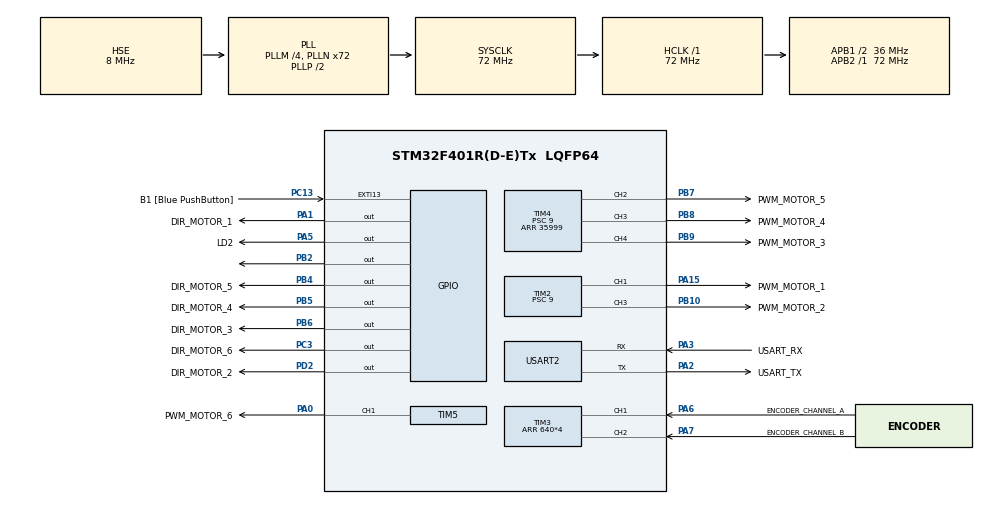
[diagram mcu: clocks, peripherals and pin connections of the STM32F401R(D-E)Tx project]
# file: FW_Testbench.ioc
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FREERTOS.BinarySemaphores01=binarySemaphore,Dynamic,NULL
<<<<<<< HEAD
FREERTOS.Tasks01=defaultTask,0,128,StartDefaultTask,Default,NULL,Dynamic,NULL,NULL;Bsp_Task,0,128,StartBsp_Task,Default,NULL,Dynamic,NULL,NULL;Uart_task,0,128,StartUart_task,Default,NULL,Dynamic,NULL,NULL
=======
FREERTOS.Tasks01=Sensors_Task,0,128,StartSensorsTask,Default,NULL,Dynamic,NULL,NULL;MotorControl_Ta,0,128,StartMotorControlTask,Default,NULL,Dynamic,NULL,NULL;UART_task,0,128,StartUART_task,Default,NULL,Dynamic,NULL,NULL
>>>>>>> 9b9e9519ef4823c5775a255998e3b3a3749f4d0f
Mcu.Family=STM32F4
<<<<<<< HEAD
=======
>>>>>>> 9b9e9519ef4823c5775a255998e3b3a3749f4d0f
Mcu.Name=STM32F401R(D-E)Tx
Mcu.Package=LQFP64
<<<<<<< HEAD
=======
>>>>>>> 9b9e9519ef4823c5775a255998e3b3a3749f4d0f
NVIC.PriorityGroup=NVIC_PRIORITYGROUP_4
<<<<<<< HEAD
PA0-WKUP.GPIO_Label=PWM_Motor_1
PA0-WKUP.Signal=S_TIM2_CH1_ETR
PA1.GPIO_Label=DIR_Motor_1
=======
NVIC.TIM1_UP_TIM10_IRQn=true\:15\:0\:false\:false\:true\:false\:false\:true\:true
NVIC.TIM3_IRQn=true\:5\:0\:false\:false\:true\:true\:true\:true\:true
NVIC.TimeBase=TIM1_UP_TIM10_IRQn
NVIC.TimeBaseIP=TIM1
PA0-WKUP.GPIO_Label=PWM_MOTOR_6
PA0-WKUP.Signal=S_TIM5_CH1
PA1.GPIO_Label=DIR_MOTOR_1
>>>>>>> 9b9e9519ef4823c5775a255998e3b3a3749f4d0f
PA1.Signal=GPIO_Output
PA13.GPIO_Label=TMS
PA13.Mode=Serial_Wire
PA13.Signal=SYS_JTMS-SWDIO
PA14.GPIO_Label=TCK
PA14.Mode=Serial_Wire
PA14.Signal=SYS_JTCK-SWCLK
<<<<<<< HEAD
=======
PA15.GPIO_Label=PWM_MOTOR_1
PA15.Signal=S_TIM2_CH1_ETR
>>>>>>> 9b9e9519ef4823c5775a255998e3b3a3749f4d0f
PA2.GPIO_Label=USART_TX
PA2.GPIO_Mode=GPIO_MODE_AF_PP
PA2.GPIO_PuPd=GPIO_NOPULL
PA2.GPIO_Speed=GPIO_SPEED_FREQ_LOW
PA2.Mode=Asynchronous
PA2.Signal=USART2_TX
PA3.GPIO_Label=USART_RX
PA3.GPIO_Mode=GPIO_MODE_AF_PP
PA3.GPIO_PuPd=GPIO_NOPULL
PA3.GPIO_Speed=GPIO_SPEED_FREQ_LOW
PA3.Mode=Asynchronous
PA3.Signal=USART2_RX
<<<<<<< HEAD
PA5.GPIO_Label=LD2 
PA5.GPIO_Mode=GPIO_MODE_OUTPUT_PP
=======
PA5.GPIO_Label=LD2 
>>>>>>> 9b9e9519ef4823c5775a255998e3b3a3749f4d0f
PA5.GPIO_PuPd=GPIO_NOPULL
PA5.GPIO_Speed=GPIO_SPEED_FREQ_LOW
PA5.Signal=GPIO_Output
<<<<<<< HEAD
PA6.Signal=S_TIM3_CH1
PA7.Signal=S_TIM3_CH2
=======
PA6.GPIO_Label=ENCODER_CHANNEL_A
PA6.Signal=S_TIM3_CH1
PA7.GPIO_Label=ENCODER_CHANNEL_B
PA7.Signal=S_TIM3_CH2
PB10.GPIO_Label=PWM_MOTOR_2
PB10.Signal=S_TIM2_CH3
PB2.Signal=GPIO_Output
>>>>>>> 9b9e9519ef4823c5775a255998e3b3a3749f4d0f
PB3.GPIO_Label=SWO
PB3.Signal=SYS_JTDO-SWO
<<<<<<< HEAD
=======
PB4.GPIO_Label=DIR_MOTOR_5
PB4.Signal=GPIO_Output
PB5.GPIO_Label=DIR_MOTOR_4
PB5.Signal=GPIO_Output
PB6.GPIO_Label=DIR_MOTOR_3
PB6.Signal=GPIO_Output
PB7.GPIO_Label=PWM_MOTOR_5
PB7.Signal=S_TIM4_CH2
PB8.GPIO_Label=PWM_MOTOR_4
PB8.Signal=S_TIM4_CH3
PB9.GPIO_Label=PWM_MOTOR_3
PB9.Signal=S_TIM4_CH4
>>>>>>> 9b9e9519ef4823c5775a255998e3b3a3749f4d0f
PC13-ANTI_TAMP.GPIO_Label=B1 [Blue PushButton]
PC13-ANTI_TAMP.GPIO_ModeDefaultEXTI=GPIO_MODE_IT_FALLING
PC13-ANTI_TAMP.GPIO_PuPd=GPIO_NOPULL
PC13-ANTI_TAMP.Signal=GPXTI13
PC14-OSC32_IN.Mode=LSE-External-Oscillator
PC14-OSC32_IN.Signal=RCC_OSC32_IN
PC15-OSC32_OUT.Mode=LSE-External-Oscillator
PC15-OSC32_OUT.Signal=RCC_OSC32_OUT
<<<<<<< HEAD
=======
PC3.GPIO_Label=DIR_MOTOR_6
PC3.Signal=GPIO_Output
PD2.GPIO_Label=DIR_MOTOR_2
PD2.Signal=GPIO_Output
>>>>>>> 9b9e9519ef4823c5775a255998e3b3a3749f4d0f
PH0\ -\ OSC_IN.Mode=HSE-External-Oscillator
PH0\ -\ OSC_IN.Signal=RCC_OSC_IN
PH1\ -\ OSC_OUT.Mode=HSE-External-Oscillator
PH1\ -\ OSC_OUT.Signal=RCC_OSC_OUT
<<<<<<< HEAD
=======
>>>>>>> 9b9e9519ef4823c5775a255998e3b3a3749f4d0f
ProjectManager.HeapSize=0x200
ProjectManager.StackSize=0x400
ProjectManager.TargetToolchain=STM32CubeIDE
<<<<<<< HEAD
=======
>>>>>>> 9b9e9519ef4823c5775a255998e3b3a3749f4d0f
RCC.48MHZClocksFreq_Value=20571428.57142857
RCC.AHBFreq_Value=72000000
RCC.APB1CLKDivider=RCC_HCLK_DIV2
RCC.APB1Freq_Value=36000000
RCC.APB1TimFreq_Value=72000000
RCC.APB2Freq_Value=72000000
RCC.APB2TimFreq_Value=72000000
RCC.CortexFreq_Value=72000000
RCC.HCLKFreq_Value=72000000
RCC.HSE_VALUE=8000000
RCC.HSI_VALUE=16000000
RCC.PLLM=4
RCC.PLLN=72
RCC.PLLQ=7
RCC.PLLSourceVirtual=RCC_PLLSOURCE_HSE
RCC.SYSCLKFreq_VALUE=72000000
RCC.SYSCLKSource=RCC_SYSCLKSOURCE_PLLCLK
RCC.VCOOutputFreq_Value=144000000
SH.S_TIM2_CH1_ETR.0=TIM2_CH1,PWM Generation1 CH1
<<<<<<< HEAD
=======
SH.S_TIM2_CH3.0=TIM2_CH3,PWM Generation3 CH3
>>>>>>> 9b9e9519ef4823c5775a255998e3b3a3749f4d0f
SH.S_TIM3_CH1.0=TIM3_CH1,Encoder_Interface
SH.S_TIM3_CH2.0=TIM3_CH2,Encoder_Interface
<<<<<<< HEAD
TIM2.AutoReloadPreload=TIM_AUTORELOAD_PRELOAD_ENABLE
TIM2.Channel-PWM\ Generation1\ CH1=TIM_CHANNEL_1
=======
SH.S_TIM4_CH2.0=TIM4_CH2,PWM Generation2 CH2
SH.S_TIM4_CH3.0=TIM4_CH3,PWM Generation3 CH3
SH.S_TIM4_CH4.0=TIM4_CH4,PWM Generation4 CH4
SH.S_TIM5_CH1.0=TIM5_CH1,PWM Generation1 CH1
TIM2.AutoReloadPreload=TIM_AUTORELOAD_PRELOAD_ENABLE
TIM2.Channel-PWM\ Generation1\ CH1=TIM_CHANNEL_1
TIM2.Channel-PWM\ Generation3\ CH3=TIM_CHANNEL_3
>>>>>>> 9b9e9519ef4823c5775a255998e3b3a3749f4d0f
TIM2.Period=35999
TIM2.Prescaler=9
TIM3.AutoReloadPreload=TIM_AUTORELOAD_PRELOAD_ENABLE
TIM3.EncoderMode=TIM_ENCODERMODE_TI12
<<<<<<< HEAD
=======
TIM3.IC1Filter=15
TIM3.IC2Filter=15
TIM3.Period=640*4
TIM4.AutoReloadPreload=TIM_AUTORELOAD_PRELOAD_ENABLE
TIM4.Channel-PWM\ Generation2\ CH2=TIM_CHANNEL_2
TIM4.Channel-PWM\ Generation3\ CH3=TIM_CHANNEL_3
TIM4.Channel-PWM\ Generation4\ CH4=TIM_CHANNEL_4
TIM4.Period=35999
TIM4.Prescaler=9
TIM5.AutoReloadPreload=TIM_AUTORELOAD_PRELOAD_ENABLE
TIM5.Channel-PWM\ Generation1\ CH1=TIM_CHANNEL_1
TIM5.Period=35999
TIM5.Prescaler=9
>>>>>>> 9b9e9519ef4823c5775a255998e3b3a3749f4d0f
USART2.VirtualMode=VM_ASYNC
VP_FREERTOS_VS_CMSIS_V1.Mode=CMSIS_V1
<<<<<<< HEAD
=======
VP_SYS_VS_tim1.Mode=TIM1
>>>>>>> 9b9e9519ef4823c5775a255998e3b3a3749f4d0f
VP_TIM2_VS_ClockSourceINT.Mode=Internal
VP_TIM2_VS_ClockSourceITR.Mode=TriggerSource_ITR0
<<<<<<< HEAD
=======
VP_TIM4_VS_ClockSourceITR.Mode=TriggerSource_ITR0
VP_TIM5_VS_ClockSourceITR.Mode=TriggerSource_ITR0
>>>>>>> 9b9e9519ef4823c5775a255998e3b3a3749f4d0f
board=NUCLEO-F401RE

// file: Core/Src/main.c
/* USER CODE BEGIN Header */
/**
  ******************************************************************************
  * @file           : main.c
  * @brief          : Main program body
  ******************************************************************************
  * @attention
  *
  * Copyright (c) 2023 STMicroelectronics.
  * All rights reserved.
  *
  * This software is licensed under terms that can be found in the LICENSE file
  * in the root directory of this software component.
  * If no LICENSE file comes with this software, it is provided AS-IS.
  *
  ******************************************************************************
  */
/* USER CODE END Header */
#include "main.h"
#include "cmsis_os.h"
#include "tim.h"
#include "usart.h"
#include "gpio.h"

/* USER CODE BEGIN Includes */
<<<<<<< HEAD
#include "../../Application/Inc/application.h"
=======

>>>>>>> 9b9e9519ef4823c5775a255998e3b3a3749f4d0f
/* USER CODE END Includes */

void SystemClock_Config(void);
void MX_FREERTOS_Init(void);

int main(void)
{
<<<<<<< HEAD
=======

>>>>>>> 9b9e9519ef4823c5775a255998e3b3a3749f4d0f
  /* USER CODE BEGIN 1 */
	//unsigned char VariableReception =0;
	//unsigned char Anciennevariable=0;

  /* USER CODE END 1 */

  /* MCU Configuration--------------------------------------------------------*/

  /* Reset of all peripherals, Initializes the Flash interface and the Systick. */
  HAL_Init();

  /* Configure the system clock */
  SystemClock_Config();

  /* Initialize all configured peripherals */
  MX_GPIO_Init();
  MX_USART2_UART_Init();
  MX_TIM2_Init();
  MX_TIM3_Init();
<<<<<<< HEAD
  /* USER CODE BEGIN 2 */

  Application_Init();
  /* USER CODE END 2 */

  /* Call init function for freertos objects (in freertos.c) */
=======
  MX_TIM4_Init();
  MX_TIM5_Init();
  /* USER CODE BEGIN 2 */

  HAL_TIM_Encoder_Start(&htim3, TIM_CHANNEL_ALL);
  /* USER CODE END 2 */

  /* Call init function for freertos objects (in cmsis_os2.c) */
>>>>>>> 9b9e9519ef4823c5775a255998e3b3a3749f4d0f
  MX_FREERTOS_Init();

  /* Start scheduler */
  osKernelStart();

  /* We should never get here as control is now taken by the scheduler */
<<<<<<< HEAD
  /* Infinite loop */
  /* USER CODE BEGIN WHILE */
  Application_Task();
=======

  /* Infinite loop */
  /* USER CODE BEGIN WHILE */
>>>>>>> 9b9e9519ef4823c5775a255998e3b3a3749f4d0f
  while (1)
  {
    /* USER CODE END WHILE */

  }
}

void SystemClock_Config(void)
{
  RCC_OscInitTypeDef RCC_OscInitStruct = {0};
  RCC_ClkInitTypeDef RCC_ClkInitStruct = {0};

  /** Configure the main internal regulator output voltage
  */
  __HAL_RCC_PWR_CLK_ENABLE();
  __HAL_PWR_VOLTAGESCALING_CONFIG(PWR_REGULATOR_VOLTAGE_SCALE2);

  /** Initializes the RCC Oscillators according to the specified parameters
  * in the RCC_OscInitTypeDef structure.
  */
  RCC_OscInitStruct.OscillatorType = RCC_OSCILLATORTYPE_HSE;
  RCC_OscInitStruct.HSEState = RCC_HSE_ON;
  RCC_OscInitStruct.PLL.PLLState = RCC_PLL_ON;
  RCC_OscInitStruct.PLL.PLLSource = RCC_PLLSOURCE_HSE;
  RCC_OscInitStruct.PLL.PLLM = 4;
  RCC_OscInitStruct.PLL.PLLN = 72;
  RCC_OscInitStruct.PLL.PLLP = RCC_PLLP_DIV2;
  RCC_OscInitStruct.PLL.PLLQ = 7;
  if (HAL_RCC_OscConfig(&RCC_OscInitStruct) != HAL_OK)
  {
    Error_Handler();
  }

  /** Initializes the CPU, AHB and APB buses clocks
  */
  RCC_ClkInitStruct.ClockType = RCC_CLOCKTYPE_HCLK|RCC_CLOCKTYPE_SYSCLK
                              |RCC_CLOCKTYPE_PCLK1|RCC_CLOCKTYPE_PCLK2;
  RCC_ClkInitStruct.SYSCLKSource = RCC_SYSCLKSOURCE_PLLCLK;
  RCC_ClkInitStruct.AHBCLKDivider = RCC_SYSCLK_DIV1;
  RCC_ClkInitStruct.APB1CLKDivider = RCC_HCLK_DIV2;
  RCC_ClkInitStruct.APB2CLKDivider = RCC_HCLK_DIV1;

  if (HAL_RCC_ClockConfig(&RCC_ClkInitStruct, FLASH_LATENCY_2) != HAL_OK)
  {
    Error_Handler();
  }
}

void HAL_TIM_PeriodElapsedCallback(TIM_HandleTypeDef *htim)
{
  if (htim->Instance == TIM1) {
    HAL_IncTick();
  }
}

void Error_Handler(void)
{
  __disable_irq();
  while (1)
  {
  }
}

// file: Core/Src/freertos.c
/* USER CODE BEGIN Header */
/**
  ******************************************************************************
  * File Name          : freertos.c
  * Description        : Code for freertos applications
  ******************************************************************************
  * @attention
  *
  * Copyright (c) 2023 STMicroelectronics.
  * All rights reserved.
  *
  * This software is licensed under terms that can be found in the LICENSE file
  * in the root directory of this software component.
  * If no LICENSE file comes with this software, it is provided AS-IS.
  *
  ******************************************************************************
  */
/* USER CODE END Header */

#include "FreeRTOS.h"
#include "task.h"
#include "main.h"
#include "cmsis_os.h"

/* USER CODE BEGIN Includes */
<<<<<<< HEAD
#include "../../BSP/Inc/bsp.h"
#include "../../BSP/Inc/uart.h"
=======
#include "motor_control.h"
#include "uart.h"
#include "encoder.h"
>>>>>>> 9b9e9519ef4823c5775a255998e3b3a3749f4d0f
/* USER CODE END Includes */

<<<<<<< HEAD
osThreadId defaultTaskHandle;
osThreadId Bsp_TaskHandle;
osThreadId Uart_taskHandle;
=======
osThreadId Sensors_TaskHandle;
osThreadId MotorControl_TaHandle;
osThreadId UART_taskHandle;
>>>>>>> 9b9e9519ef4823c5775a255998e3b3a3749f4d0f
osSemaphoreId binarySemaphoreHandle;

<<<<<<< HEAD
void StartDefaultTask(void const * argument);
void StartBsp_Task(void const * argument);
void StartUart_task(void const * argument);
=======
void StartSensorsTask(void const * argument);
void StartMotorControlTask(void const * argument);
void StartUART_task(void const * argument);
>>>>>>> 9b9e9519ef4823c5775a255998e3b3a3749f4d0f

void MX_FREERTOS_Init(void); /* (MISRA C 2004 rule 8.1) */

/* GetIdleTaskMemory prototype (linked to static allocation support) */
void vApplicationGetIdleTaskMemory( StaticTask_t **ppxIdleTaskTCBBuffer, StackType_t **ppxIdleTaskStackBuffer, uint32_t *pulIdleTaskStackSize );

/* USER CODE BEGIN GET_IDLE_TASK_MEMORY */
static StaticTask_t xIdleTaskTCBBuffer;
static StackType_t xIdleStack[configMINIMAL_STACK_SIZE];

void vApplicationGetIdleTaskMemory( StaticTask_t **ppxIdleTaskTCBBuffer, StackType_t **ppxIdleTaskStackBuffer, uint32_t *pulIdleTaskStackSize )
{
  *ppxIdleTaskTCBBuffer = &xIdleTaskTCBBuffer;
  *ppxIdleTaskStackBuffer = &xIdleStack[0];
  *pulIdleTaskStackSize = configMINIMAL_STACK_SIZE;
  /* place for user code */
}
/* USER CODE END GET_IDLE_TASK_MEMORY */

void MX_FREERTOS_Init(void) {

  /* Create the semaphores(s) */
  /* definition and creation of binarySemaphore */
  osSemaphoreDef(binarySemaphore);
  binarySemaphoreHandle = osSemaphoreCreate(osSemaphore(binarySemaphore), 1);

  /* Create the thread(s) */
<<<<<<< HEAD
  /* definition and creation of defaultTask */
  osThreadDef(defaultTask, StartDefaultTask, osPriorityNormal, 0, 128);
  defaultTaskHandle = osThreadCreate(osThread(defaultTask), NULL);

  /* definition and creation of Bsp_Task */
  osThreadDef(Bsp_Task, StartBsp_Task, osPriorityNormal, 0, 128);
  Bsp_TaskHandle = osThreadCreate(osThread(Bsp_Task), NULL);

  /* definition and creation of Uart_task */
  osThreadDef(Uart_task, StartUart_task, osPriorityNormal, 0, 128);
  Uart_taskHandle = osThreadCreate(osThread(Uart_task), NULL);
=======
  /* definition and creation of Sensors_Task */
  osThreadDef(Sensors_Task, StartSensorsTask, osPriorityNormal, 0, 128);
  Sensors_TaskHandle = osThreadCreate(osThread(Sensors_Task), NULL);

  /* definition and creation of MotorControl_Ta */
  osThreadDef(MotorControl_Ta, StartMotorControlTask, osPriorityNormal, 0, 128);
  MotorControl_TaHandle = osThreadCreate(osThread(MotorControl_Ta), NULL);

  /* definition and creation of UART_task */
  osThreadDef(UART_task, StartUART_task, osPriorityNormal, 0, 128);
  UART_taskHandle = osThreadCreate(osThread(UART_task), NULL);
>>>>>>> 9b9e9519ef4823c5775a255998e3b3a3749f4d0f

}

<<<<<<< HEAD
void StartDefaultTask(void const * argument)
{
  for(;;)
  {
    osDelay(1);
  }
}

void StartBsp_Task(void const * argument)
{
  /* USER CODE BEGIN StartBsp_Task */
  /* Infinite loop */
  for(;;)
  {
	  BSP_Task();
	  osDelay(100);
  }
  /* USER CODE END StartBsp_Task */
}

void StartUart_task(void const * argument)
{
  /* USER CODE BEGIN StartUart_task */
  /* Infinite loop */
  for(;;)
  {
    UART_Task();
	osDelay(50);
  }
  /* USER CODE END StartUart_task */
=======
void StartSensorsTask(void const * argument)
{
  /* USER CODE BEGIN StartSensorsTask */
  Encoder_Init();

  /* Infinite loop */
  for(;;)
  {
	Encoder_Task();
    osDelay(100);
  }
  /* USER CODE END StartSensorsTask */
}

void StartMotorControlTask(void const * argument)
{
  /* USER CODE BEGIN StartMotorControlTask */
  /* Encoder_Init() à rajouter */
  MotorControl_Init();

  /* Infinite loop */
  for(;;)
  {
	/* Encoder_Task() à rajouter */
	MotorControl_Task();
    osDelay(100);
  }
  /* USER CODE END StartMotorControlTask */
}

void StartUART_task(void const * argument)
{
  /* USER CODE BEGIN StartUART_task */
  UART_Init();

  /* Infinite loop */
  for(;;)
  {

	UART_Task();
    osDelay(75);
  }
  /* USER CODE END StartUART_task */
>>>>>>> 9b9e9519ef4823c5775a255998e3b3a3749f4d0f
}
